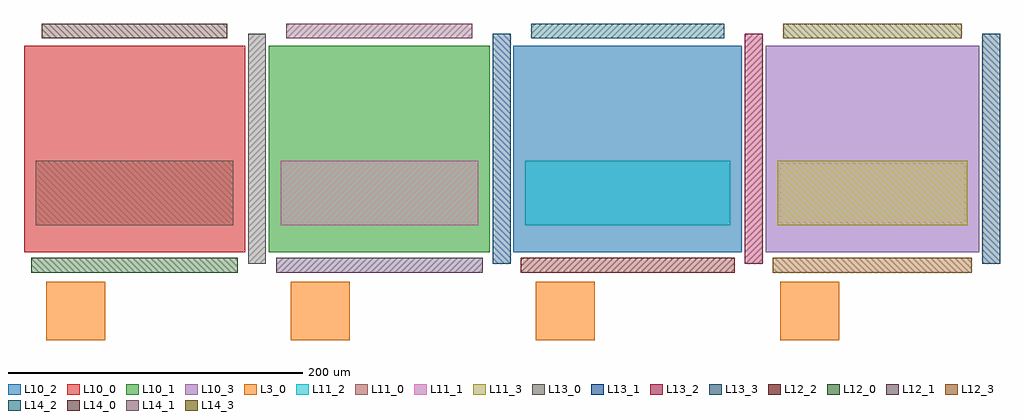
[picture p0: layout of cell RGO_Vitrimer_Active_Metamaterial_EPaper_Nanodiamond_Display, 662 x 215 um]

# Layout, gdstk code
import gdstk
lib = gdstk.Library(unit=1e-6, precision=1e-09)
def R(c, l, rs):  # rectangles x0, y0, x1, y1
    for r in rs: c.add(gdstk.rectangle(r[:2], r[2:], *l))
def A(c, l, x, y, w, h, nx, ny, dx, dy):  # array of equal rectangles
    R(c, l, [(x+i*dx, y+j*dy, x+i*dx+w, y+j*dy+h) for i in range(nx) for j in range(ny)])
L3_0 = (3, 0)
L10_0 = (10, 0)
L10_1 = (10, 1)
L10_2 = (10, 2)
L10_3 = (10, 3)
L11_0 = (11, 0)
L11_1 = (11, 1)
L11_2 = (11, 2)
L11_3 = (11, 3)
L12_0 = (12, 0)
L12_1 = (12, 1)
L12_2 = (12, 2)
L12_3 = (12, 3)
L13_0 = (13, 0)
L13_1 = (13, 1)
L13_2 = (13, 2)
L13_3 = (13, 3)
L14_0 = (14, 0)
L14_1 = (14, 1)
L14_2 = (14, 2)
L14_3 = (14, 3)

rgo_vitrimer_active_meta = lib.new_cell('RGO_Vitrimer_Active_Metamaterial_EPaper_Nanodiamond_Display')
A(rgo_vitrimer_active_meta, L3_0, 15, -60, 40, 40, 4, 1, 166, 0)
R(rgo_vitrimer_active_meta, L10_0, [(0,0,150,140)])
R(rgo_vitrimer_active_meta, L10_1, [(166,0,316,140)])
R(rgo_vitrimer_active_meta, L10_2, [(332,0,487,140)])
R(rgo_vitrimer_active_meta, L10_3, [(503,0,648,140)])
R(rgo_vitrimer_active_meta, L11_0, [(8,18,142,62)])
R(rgo_vitrimer_active_meta, L11_1, [(174,18,308,62)])
R(rgo_vitrimer_active_meta, L11_2, [(340,18,479,62)])
R(rgo_vitrimer_active_meta, L11_3, [(511,18,640,62)])
R(rgo_vitrimer_active_meta, L12_0, [(5,-14,145,-4)])
R(rgo_vitrimer_active_meta, L12_1, [(171,-14,311,-4)])
R(rgo_vitrimer_active_meta, L12_2, [(337,-14,482,-4)])
R(rgo_vitrimer_active_meta, L12_3, [(508,-14,643,-4)])
R(rgo_vitrimer_active_meta, L13_0, [(152,-8,164,148)])
R(rgo_vitrimer_active_meta, L13_1, [(318,-8,330,148)])
R(rgo_vitrimer_active_meta, L13_2, [(489,-8,501,148)])
R(rgo_vitrimer_active_meta, L13_3, [(650,-8,662,148)])
R(rgo_vitrimer_active_meta, L14_0, [(12,145,138,155)])
R(rgo_vitrimer_active_meta, L14_1, [(178,145,304,155)])
R(rgo_vitrimer_active_meta, L14_2, [(344,145,475,155)])
R(rgo_vitrimer_active_meta, L14_3, [(515,145,636,155)])

lib.write_gds('RGO_Vitrimer_Active_Metamaterial_EPaper_Nanodiamond_Display.gds')
